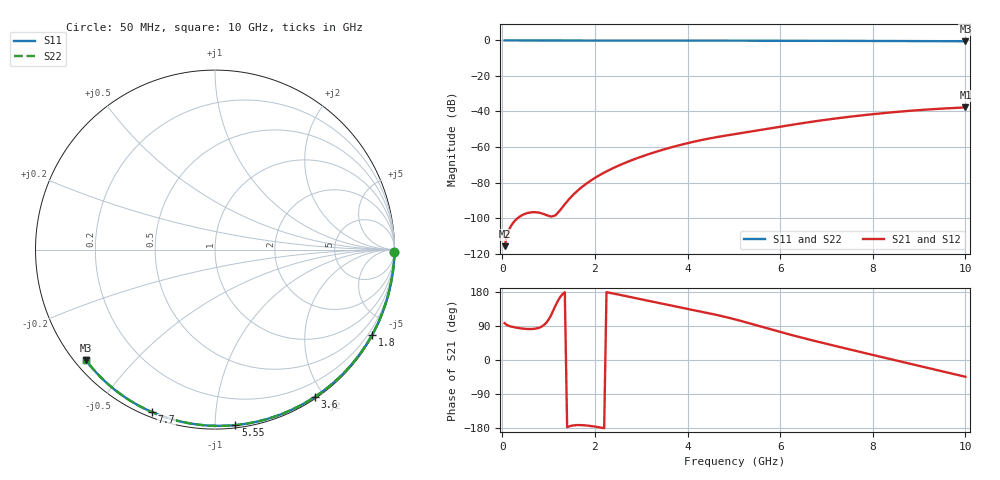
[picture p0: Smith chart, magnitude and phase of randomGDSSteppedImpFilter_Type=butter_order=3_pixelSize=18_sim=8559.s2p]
! freq	dB(S11)	phase(S11)	dB(S12)	phase(S12)
!  dB(S21)	phase(S21)	dB(S22)	phase(S22)
!S-par simulation data
#  GHz  S  DB  R 50
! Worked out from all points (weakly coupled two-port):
!   200 points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, 50 MHz to 10 GHz, reference 50 ohm
!   highest |S21| = -37.72 dB at 10 GHz (marker M1); lowest = -115.8 dB at 50 MHz (marker M2)
!   lowest |S11| = -0.5 dB at 10 GHz (marker M3), VSWR 36.80, Z = 1.54 - j18.4 ohm
!   |S11| at or under -10 dB: nowhere
!   |S22| runs from -0.5 to 0.0 dB; largest |S21 - S12| = 0
!   S11 on the Smith chart (normalised r, x): 50 MHz: open; 1.8 GHz: 0.03, -3.92; 3.6 GHz: 0.02, -1.88; 5.55 GHz: 0.02, -1.12; 7.7 GHz: 0.02, -0.68; 10 GHz: 0.03, -0.37
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0.05  -0.00 -0.8  -115.83 97.3  -115.83 97.3  -0.00 -0.8
0.9  -0.02 -14.4  -97.77 92.3  -97.77 92.3  -0.02 -14.4
1.75  -0.04 -27.8  -81.89 -172.1  -81.89 -172.1  -0.03 -27.8
1.8  -0.04 -28.6  -80.90 -172.6  -80.90 -172.6  -0.04 -28.6
1.85  -0.04 -29.4  -79.97 -173.2  -79.97 -173.2  -0.04 -29.4
2  -0.04 -31.7  -77.40 -175.7  -77.40 -175.7  -0.04 -31.7
2.15  -0.04 -34.1  -75.11 -178.8  -75.11 -178.8  -0.04 -34.0
2.35  -0.05 -37.1  -72.41 176.6  -72.41 176.6  -0.05 -37.1
2.55  -0.05 -40.2  -70.02 171.7  -70.02 171.7  -0.05 -40.2
2.95  -0.06 -46.2  -65.91 161.5  -65.91 161.5  -0.06 -46.2
3.4  -0.07 -52.9  -62.05 149.9  -62.05 149.9  -0.07 -52.9
3.6  -0.08 -55.9  -60.53 144.8  -60.53 144.8  -0.08 -55.8
3.95  -0.09 -61.0  -58.14 136.1  -58.14 136.1  -0.08 -60.9
4.3  -0.09 -66.0  -56.08 127.4  -56.08 127.4  -0.09 -65.9
5.05  -0.12 -76.5  -52.63 106.5  -52.63 106.5  -0.12 -76.5
5.55  -0.14 -83.4  -50.54 89.4  -50.54 89.4  -0.14 -83.3
6.1  -0.16 -90.7  -48.15 70.6  -48.15 70.6  -0.16 -90.6
6.7  -0.19 -98.6  -45.71 51.7  -45.71 51.7  -0.19 -98.5
7.7  -0.26 -111.3  -42.35 22.1  -42.35 22.1  -0.26 -111.2
8.35  -0.31 -119.4  -40.62 3.2  -40.62 3.2  -0.31 -119.2
9.2  -0.39 -129.8  -38.85 -21.3  -38.85 -21.3  -0.39 -129.6
10  -0.47 -139.6  -37.72 -44.3  -37.72 -44.3  -0.47 -139.4
